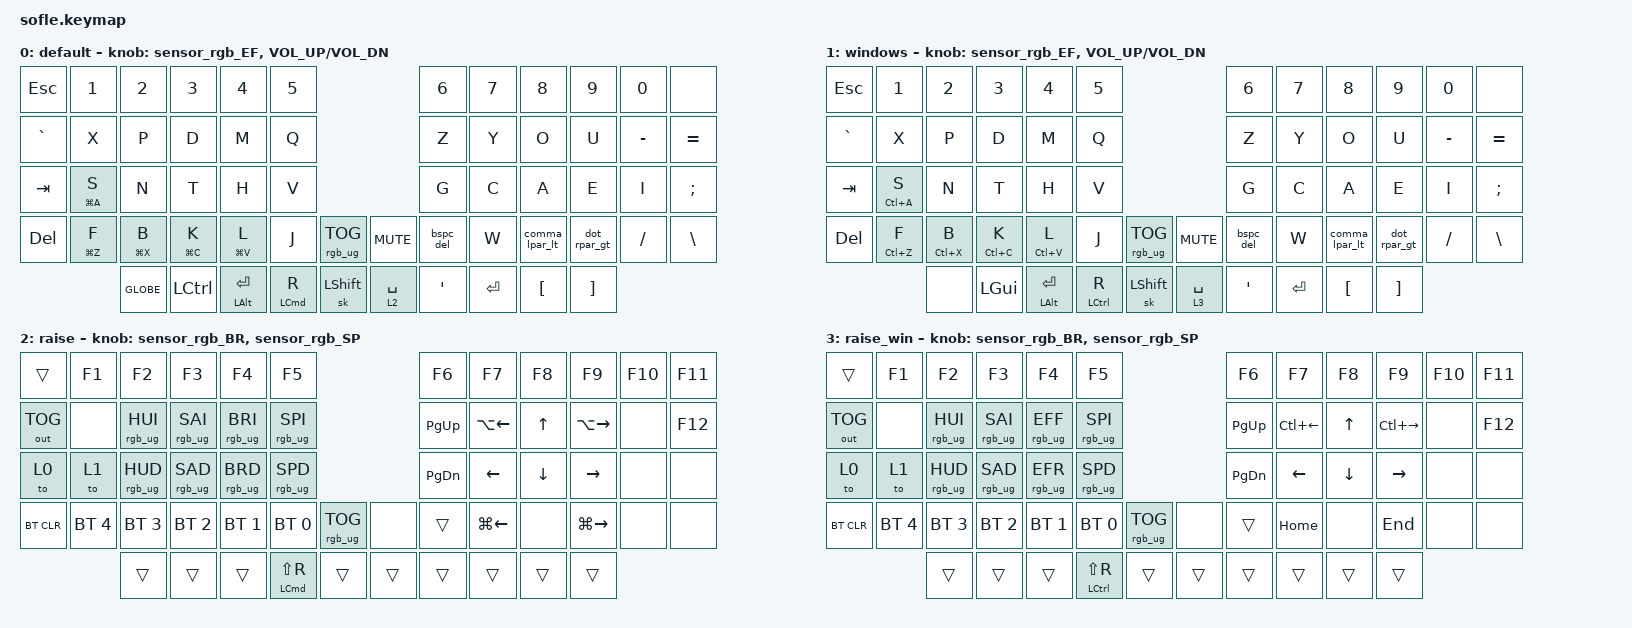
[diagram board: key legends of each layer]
/*
 * Copyright (c) 2020 The ZMK Contributors
 *
 * SPDX-License-Identifier: MIT
 */

#include <behaviors.dtsi>
#include <dt-bindings/zmk/bt.h>
#include <dt-bindings/zmk/keys.h>
#include <dt-bindings/zmk/outputs.h>
#include <dt-bindings/zmk/rgb.h>

#define BASE 0
#define LOWER 1
#define RAISE 2
#define ADJUST 3

&sk {
    release-after-ms = <600>;
    quick-release;
};

/ {
    // Activate ADJUST layer by pressing raise and lower

    conditional_layers { compatible = "zmk,conditional-layers"; };

    combos {
        compatible = "zmk,combos";

        bootloader {
            bindings = <&bootloader>;
            key-positions = <36 37 50>;
        };

        sys_reset {
            bindings = <&sys_reset>;
            key-positions = <36 37 38>;
        };
    };

    macros {
        once_kp_macro: my_kp_macro {
            compatible = "zmk,behavior-macro-one-param";
            #binding-cells = <1>;
            bindings = <&macro_param_1to1 &kp MACRO_PLACEHOLDER>;
            label = "MY_KP_MACRO";
        };
    };

    behaviors {
        mt_tappref: mt_tappref {
            compatible = "zmk,behavior-hold-tap";
            label = "MT_TAPPREF";
            bindings = <&kp>, <&kp>;

            #binding-cells = <2>;
            flavor = "tap-preferred";
            tapping-term-ms = <333>;
        };

        mt_once: mt_once {
            compatible = "zmk,behavior-hold-tap";
            label = "MT_ONCE";
            bindings = <&once_kp_macro>, <&kp>;

            #binding-cells = <2>;
            tapping-term-ms = <300>;
            flavor = "tap-preferred";
        };

        bspc_del: bspc_del {
            compatible = "zmk,behavior-mod-morph";
            label = "BSPC_DEL";
            bindings = <&kp BSPC>, <&kp DEL>;

            #binding-cells = <0>;
            mods = <(MOD_LSFT|MOD_RSFT)>;
        };

        comma_lpar_lt: comma_lpar_lt {
            compatible = "zmk,behavior-mod-morph";
            label = "COMMA_LPAR_LT";
            bindings = <&mt_once LT COMMA>, <&mt_once LT LPAR>;

            #binding-cells = <0>;
            mods = <(MOD_RSFT|MOD_LSFT)>;
            keep-mods = <(MOD_LSFT|MOD_RSFT)>;
        };

        dot_rpar_gt: dot_rpar_gt {
            compatible = "zmk,behavior-mod-morph";
            label = "DOT_RPAR_GT";
            bindings = <&mt_once GT DOT>, <&mt_once GT RPAR>;

            #binding-cells = <0>;
            mods = <(MOD_RSFT|MOD_LSFT)>;
            keep-mods = <(MOD_LSFT|MOD_RSFT)>;
        };

        sensor_rgb_BR: sensor_rgb_BR {
            compatible = "zmk,behavior-sensor-rotate";
            label = "SENSOR_RGB_BR";
            #sensor-binding-cells = <0>;
            bindings = <&rgb_ug RGB_BRI>, <&rgb_ug RGB_BRD>;
        };

        sensor_rgb_SP: sensor_rgb_SP {
            compatible = "zmk,behavior-sensor-rotate";
            label = "SENSOR_RGB_SP";
            #sensor-binding-cells = <0>;
            bindings = <&rgb_ug RGB_SPI>, <&rgb_ug RGB_SPD>;
        };

        sensor_rgb_EF: sensor_rgb_EF {
            compatible = "zmk,behavior-sensor-rotate";
            label = "SENSOR_RGB_EF";
            #sensor-binding-cells = <0>;
            bindings = <&rgb_ug RGB_EFF>, <&rgb_ug RGB_EFR>;
        };
    };

    keymap {
        compatible = "zmk,keymap";

        default_layer {
            label = "default";
            bindings = <
&kp ESC    &kp N1            &kp N2            &kp N3            &kp N4            &kp N5                                              &kp N6     &kp N7     &kp N8          &kp N9        &kp N0     &none
&kp GRAVE  &kp X             &kp P             &kp D             &kp M             &kp Q                                               &kp Z      &kp Y      &kp O           &kp U         &kp MINUS  &kp EQUAL
&kp TAB    &mt_once LG(A) S  &kp N             &kp T             &kp H             &kp V                                               &kp G      &kp C      &kp A           &kp E         &kp I      &kp SEMI
&kp DEL    &mt_once LG(Z) F  &mt_once LG(X) B  &mt_once LG(C) K  &mt_once LG(V) L  &kp J               &rgb_ug RGB_TOG    &kp C_MUTE   &bspc_del  &kp W      &comma_lpar_lt  &dot_rpar_gt  &kp FSLH   &kp BACKSLASH
                             &kp GLOBE         &kp LCTRL         &mt LALT ENTER    &mt_tappref LCMD R  &sk LSHIFT         &lt 2 SPACE  &kp SQT    &kp ENTER  &kp LBKT        &kp RBKT
            >;

            sensor-bindings = <&sensor_rgb_EF>, <&inc_dec_kp C_VOL_UP C_VOL_DN>;
        };

        windows_layer {
            label = "windows";
            bindings = <
&kp ESC    &kp N1            &kp N2            &kp N3            &kp N4            &kp N5                                               &kp N6     &kp N7     &kp N8          &kp N9        &kp N0     &none
&kp GRAVE  &kp X             &kp P             &kp D             &kp M             &kp Q                                                &kp Z      &kp Y      &kp O           &kp U         &kp MINUS  &kp EQUAL
&kp TAB    &mt_once LC(A) S  &kp N             &kp T             &kp H             &kp V                                                &kp G      &kp C      &kp A           &kp E         &kp I      &kp SEMI
&kp DEL    &mt_once LC(Z) F  &mt_once LC(X) B  &mt_once LC(C) K  &mt_once LC(V) L  &kp J                &rgb_ug RGB_TOG    &kp C_MUTE   &bspc_del  &kp W      &comma_lpar_lt  &dot_rpar_gt  &kp FSLH   &kp BACKSLASH
                             &none             &kp LGUI          &mt LALT ENTER    &mt_tappref LCTRL R  &sk LSHIFT         &lt 3 SPACE  &kp SQT    &kp ENTER  &kp LBKT        &kp RBKT
            >;

            sensor-bindings = <&sensor_rgb_EF>, <&inc_dec_kp C_VOL_UP C_VOL_DN>;
        };

        raise_layer {
            label = "raise";
            bindings = <
&trans        &kp F1        &kp F2           &kp F3           &kp F4           &kp F5                                             &kp F6     &kp F7        &kp F8    &kp F9         &kp F10  &kp F11
&out OUT_TOG  &none         &rgb_ug RGB_HUI  &rgb_ug RGB_SAI  &rgb_ug RGB_BRI  &rgb_ug RGB_SPI                                    &kp PG_UP  &kp LA(LEFT)  &kp UP    &kp LA(RIGHT)  &none    &kp F12
&to 0         &to 1         &rgb_ug RGB_HUD  &rgb_ug RGB_SAD  &rgb_ug RGB_BRD  &rgb_ug RGB_SPD                                    &kp PG_DN  &kp LEFT      &kp DOWN  &kp RIGHT      &none    &none
&bt BT_CLR    &bt BT_SEL 4  &bt BT_SEL 3     &bt BT_SEL 2     &bt BT_SEL 1     &bt BT_SEL 0            &rgb_ug RGB_TOG    &none   &trans     &kp LG(LEFT)  &none     &kp LG(RIGHT)  &none    &none
                            &trans           &trans           &trans           &mt_tappref LCMD LS(R)  &trans             &trans  &trans     &trans        &trans    &trans
            >;

            sensor-bindings = <&sensor_rgb_BR>, <&sensor_rgb_SP>;
        };

        raise_win {
            label = "raise_win";
            bindings = <
&trans        &kp F1        &kp F2           &kp F3           &kp F4           &kp F5                                              &kp F6     &kp F7        &kp F8    &kp F9         &kp F10  &kp F11
&out OUT_TOG  &none         &rgb_ug RGB_HUI  &rgb_ug RGB_SAI  &rgb_ug RGB_EFF  &rgb_ug RGB_SPI                                     &kp PG_UP  &kp LC(LEFT)  &kp UP    &kp LC(RIGHT)  &none    &kp F12
&to 0         &to 1         &rgb_ug RGB_HUD  &rgb_ug RGB_SAD  &rgb_ug RGB_EFR  &rgb_ug RGB_SPD                                     &kp PG_DN  &kp LEFT      &kp DOWN  &kp RIGHT      &none    &none
&bt BT_CLR    &bt BT_SEL 4  &bt BT_SEL 3     &bt BT_SEL 2     &bt BT_SEL 1     &bt BT_SEL 0             &rgb_ug RGB_TOG    &none   &trans     &kp HOME      &none     &kp END        &none    &none
                            &trans           &trans           &trans           &mt_tappref LCTRL LS(R)  &trans             &trans  &trans     &trans        &trans    &trans
            >;

            sensor-bindings = <&sensor_rgb_BR>, <&sensor_rgb_SP>;
        };
    };
};
